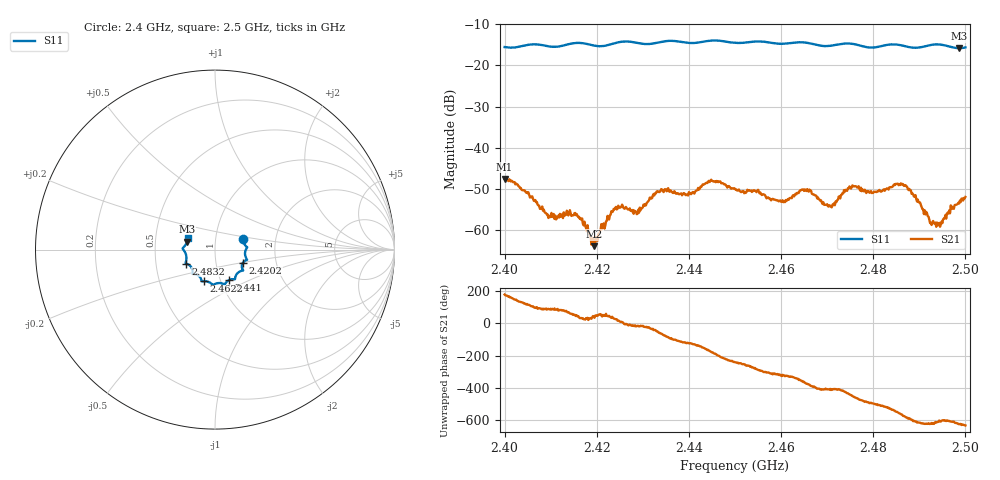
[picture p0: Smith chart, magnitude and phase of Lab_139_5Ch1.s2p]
# Hz S RI R 50
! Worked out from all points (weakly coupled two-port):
!   601 points, 2.4 GHz to 2.5 GHz, reference 50 ohm
!   highest |S21| = -47.61 dB at 2.4 GHz (marker M1); lowest = -63.9 dB at 2.4195 GHz (marker M2)
!   lowest |S11| = -15.8 dB at 2.4987 GHz (marker M3), VSWR 1.39, Z = 36.4 + j3.32 ohm
!   |S11| at or under -10 dB: start of sweep to end of sweep
!   S12 and S22 are empty: the file has one direction only
!   S11 on the Smith chart (normalised r, x): 2.4 GHz: 1.36, +0.17; 2.4202 GHz: 1.35, -0.20; 2.441 GHz: 1.09, -0.39; 2.4622 GHz: 0.83, -0.30; 2.4832 GHz: 0.72, -0.12; 2.5 GHz: 0.73, +0.09
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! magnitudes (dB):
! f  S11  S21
! 2.4 GHz  -15.5  -47.6
! 2.4095 GHz  -15.4  -57.1
! 2.4167 GHz  -14.6  -57.5
! 2.4195 GHz  -15.2  -63.9
! 2.4202 GHz  -15.3  -62.6
! 2.4237 GHz  -14.7  -54.9
! 2.4287 GHz  -14.5  -56.1
! 2.4333 GHz  -14.4  -50.6
! 2.441 GHz  -14.6  -50.9
! 2.4447 GHz  -14.0  -48.0
! 2.45 GHz  -14.5  -50.0
! 2.4622 GHz  -14.5  -52.2
! 2.4667 GHz  -14.7  -51.2
! 2.4707 GHz  -15.2  -54.1
! 2.4753 GHz  -14.7  -49.6
! 2.4832 GHz  -15.0  -50.0
! 2.4833 GHz  -15.0  -50.2
! 2.4868 GHz  -15.3  -49.2
! 2.4923 GHz  -15.1  -58.3
! 2.4942 GHz  -14.9  -58.8
! 2.4987 GHz  -15.8  -53.5
! 2.5 GHz  -15.6  -52.0
